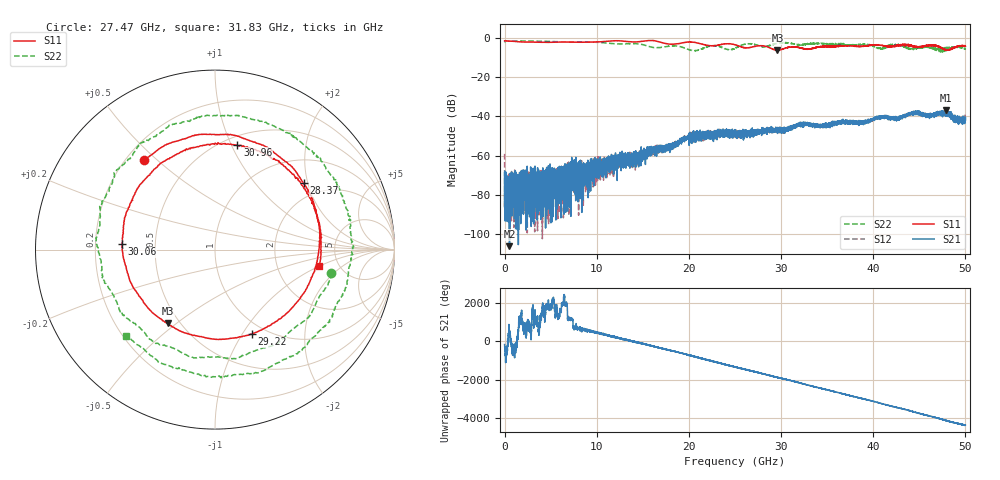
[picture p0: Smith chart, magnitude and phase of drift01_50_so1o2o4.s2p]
!Created with skrf (http://scikit-rf.org).
# Hz S RI R 50.0
!freq ReS11 ImS11 ReS21 ImS21 ReS12 ImS12 ReS22 ImS22
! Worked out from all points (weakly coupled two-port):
!   10001 points, 300 kHz to 50 GHz, reference 50 ohm
!   highest |S21| = -36.86 dB at 47.89 GHz (marker M1); lowest = -106.3 dB at 530.3 MHz (marker M2)
!   lowest |S11| = -6.2 dB at 29.61 GHz (marker M3), VSWR 2.91, Z = 21.6 - j23.3 ohm
!   |S11| at or under -10 dB: nowhere
!   |S22| runs from -7.1 to -1.4 dB; largest |S21 - S12| = 0.0045
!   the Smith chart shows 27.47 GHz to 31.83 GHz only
!   S11 on the Smith chart (normalised r, x): 27.47 GHz: 0.27, +0.45; 28.37 GHz: 1.58, +1.88; 29.22 GHz: 0.86, -1.10; 30.06 GHz: 0.32, +0.03; 30.96 GHz: 0.58, +1.05; 31.83 GHz: 3.56, -0.99
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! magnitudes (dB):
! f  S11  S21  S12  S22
! 300 kHz  -1.3  -68.9  -59.1  -2.1
! 255.3 MHz  -1.4  -80.9  -80.8  -1.4
! 530.3 MHz  -1.4  -106.3  -81.0  -1.5
! 3.4 GHz  -2.0  -75.2  -80.5  -1.5
! 5.38 GHz  -2.0  -72.8  -73.7  -1.7
! 8.335 GHz  -2.0  -73.3  -70.7  -1.8
! 16.67 GHz  -1.7  -55.8  -58.3  -4.8
! 20.61 GHz  -2.1  -49.8  -48.9  -6.4
! 22.59 GHz  -3.9  -48.6  -49.7  -3.8
! 25 GHz  -3.3  -48.6  -49.2  -5.1
! 27.47 GHz  -3.9  -47.8  -48.0  -3.6
! 28.37 GHz  -4.2  -46.9  -47.0  -4.3
! 29.22 GHz  -5.8  -47.0  -46.2  -3.1
! 29.61 GHz  -6.2  -45.6  -47.1  -2.5
! 30.06 GHz  -5.7  -47.2  -47.0  -2.3
! 30.96 GHz  -4.5  -46.5  -45.7  -2.5
! 31.83 GHz  -4.6  -44.4  -43.7  -3.2
! 33.34 GHz  -5.3  -44.0  -44.6  -2.6
! 41.67 GHz  -4.2  -41.0  -40.7  -4.5
! 46.52 GHz  -3.7  -39.1  -38.7  -5.2
! 47.89 GHz  -5.9  -36.9  -38.9  -5.2
! 50 GHz  -4.0  -41.9  -42.0  -5.4
